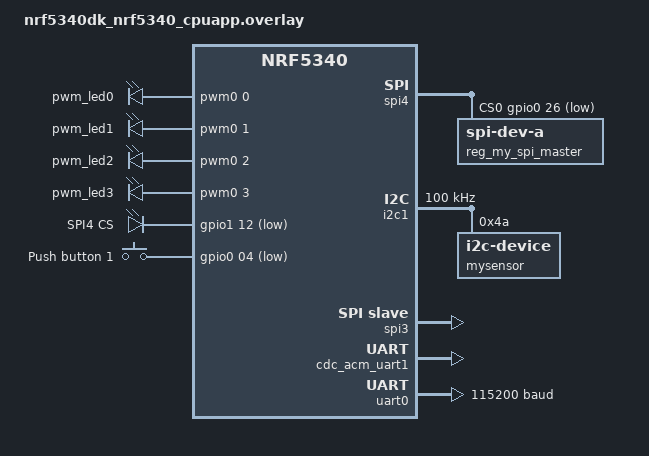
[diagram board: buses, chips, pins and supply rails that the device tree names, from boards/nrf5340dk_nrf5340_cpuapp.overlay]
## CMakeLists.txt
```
# SPDX-License-Identifier: Apache-2.0

cmake_minimum_required(VERSION 3.20.0)
find_package(Zephyr REQUIRED HINTS $ENV{ZEPHYR_BASE})
project(blinky_pwm)

target_sources(app PRIVATE src/main.c)
target_sources(app PRIVATE src/drivers/PWM/pwm_local.c)
target_sources(app PRIVATE src/drivers/SPIM/spim_local.c)
target_sources(app PRIVATE src/drivers/SPIS/spis_local.c)
target_sources(app PRIVATE src/drivers/I2C/i2c_local.c)
target_sources(app PRIVATE src/drivers/GPIO_INPUT/gpio_input_local.c)
target_sources(app PRIVATE src/drivers/BLE_NUS/ble_nus_local.c)

# Include UART ASYNC API adapter
target_sources_ifdef(CONFIG_BT_NUS_UART_ASYNC_ADAPTER app PRIVATE
  src/uart_async_adapter.c
)

# NORDIC SDK APP END

zephyr_library_include_directories(.)
```

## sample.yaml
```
sample:
  name: Blink LED (PWM based)
tests:
  sample.basic.blink_led:
    filter: dt_alias_exists("pwm-led0") and dt_compat_enabled("pwm-leds")
    tags: drivers pwm
    depends_on: pwm
    harness: led
```

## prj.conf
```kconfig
CONFIG_STDOUT_CONSOLE=y
CONFIG_PRINTK=y
CONFIG_PWM=y
CONFIG_I2C=y
CONFIG_LOG=y
#CONFIG_LOG_PRINTK=y
CONFIG_LOG_MODE_IMMEDIATE=y
CONFIG_PWM_LOG_LEVEL_DBG=y
CONFIG_USE_SEGGER_RTT=y

CONFIG_CONSOLE=y
CONFIG_UART_CONSOLE=y

# Enable the UART driver
CONFIG_UART_ASYNC_API=y
CONFIG_NRFX_UARTE0=y
CONFIG_SERIAL=y
CONFIG_GPIO=y

#SPI
CONFIG_SPI=y
CONFIG_NRFX_SPIM3=y
CONFIG_NRFX_SPIM4=y
CONFIG_SPI_ASYNC=y
CONFIG_SPI_SLAVE=y

#Floating point
CONFIG_CBPRINTF_FP_SUPPORT=y

# BT
CONFIG_BT=y
CONFIG_BT_DEBUG_LOG=y

CONFIG_BT_CENTRAL=y
CONFIG_BT_PERIPHERAL=y

CONFIG_BT_SCAN=y
CONFIG_BT_SCAN_FILTER_ENABLE=y
CONFIG_BT_SCAN_NAME_CNT=1
CONFIG_BT_SCAN_MANUFACTURER_DATA_CNT=1
CONFIG_BT_SCAN_WITH_IDENTITY=y

CONFIG_BT_EXT_ADV=y

CONFIG_BT_DEVICE_NAME="ANTSHIV Robotics BLE"
CONFIG_BT_DDFS=y
CONFIG_BT_DEVICE_APPEARANCE=833
CONFIG_BT_MAX_CONN=1
CONFIG_BT_MAX_PAIRED=1

# Enable back logging over UART as this sample config uses only RTT by default
#CONFIG_LOG_BACKEND_UART=y

# Config logger
CONFIG_LOG=y
CONFIG_USE_SEGGER_RTT=y
CONFIG_LOG_BACKEND_RTT=y
CONFIG_LOG_BACKEND_UART=n
CONFIG_LOG_PRINTK=n

# Enable the NUS service
CONFIG_BT_NUS=y
CONFIG_BT_NUS_UART_ASYNC_ADAPTER=y
CONFIG_UART_INTERRUPT_DRIVEN=y

# Disable the UARTE0 enabled in default project configuration
#CONFIG_NRFX_UARTE0=n
CONFIG_UART_NRFX=y

# Enable bonding
CONFIG_BT_SETTINGS=y
CONFIG_FLASH=y
CONFIG_FLASH_PAGE_LAYOUT=y
CONFIG_FLASH_MAP=y
CONFIG_NVS=y
CONFIG_SETTINGS=y

# Enable DK LED and Buttons library
CONFIG_DK_LIBRARY=y

# This example requires more workqueue stack
CONFIG_SYSTEM_WORKQUEUE_STACK_SIZE=2048

CONFIG_ASSERT=y 
```

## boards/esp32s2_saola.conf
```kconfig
CONFIG_LED=y
CONFIG_PWM_LED_ESP32=y
```

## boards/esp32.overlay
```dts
/*
 * SPDX-License-Identifier: Apache-2.0
 *
 * Copyright (c) 2021 Andrei-Edward Popa
 * Copyright (c) 2022 Espressif Systems (Shanghai) Co., Ltd.
 */

#include <zephyr/dt-bindings/pwm/pwm.h>
#include <dt-bindings/pinctrl/esp32-pinctrl.h>

/ {
	aliases {
		pwm-0 = &ledc0;
		pwm-led0 = &pwm_led_blue;
	};

	pwmleds {
		compatible = "pwm-leds";
		pwm_led_blue: pwm_led_gpio0_2 {
			label = "PWM LED0";
			pwms = <&ledc0 0 1000 PWM_POLARITY_NORMAL>;
		};
	};
};

&pinctrl {
	ledc0_default: ledc0_default {
		group1 {
			pinmux = <LEDC_CH0_GPIO2>;
			output-enable;
		};
	};
};

&ledc0 {
	pinctrl-0 = <&ledc0_default>;
	pinctrl-names = "default";
	status = "okay";
	#address-cells = <1>;
	#size-cells = <0>;
	channel0@0 {
		reg = <0x0>;
		timer = <0>;
	};
};
```

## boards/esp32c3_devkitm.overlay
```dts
/*
 * SPDX-License-Identifier: Apache-2.0
 *
 * Copyright (c) 2021 Andrei-Edward Popa
 * Copyright (c) 2022 Espressif Systems (Shanghai) Co., Ltd.
 */

#include <zephyr/dt-bindings/pwm/pwm.h>
#include <dt-bindings/pinctrl/esp32c3-pinctrl.h>

/ {
	aliases {
		pwm-0 = &ledc0;
		pwm-led0 = &pwm_led_blue;
	};

	pwmleds {
		compatible = "pwm-leds";
		pwm_led_blue: pwm_led_gpio0_2 {
			label = "PWM LED0";
			pwms = <&ledc0 0 1000 PWM_POLARITY_NORMAL>;
		};
	};
};

&pinctrl {
	ledc0_default: ledc0_default {
		group1 {
			pinmux = <LEDC_CH0_GPIO2>;
			output-enable;
		};
	};
};

&ledc0 {
	pinctrl-0 = <&ledc0_default>;
	pinctrl-names = "default";
	status = "okay";
	#address-cells = <1>;
	#size-cells = <0>;
	channel0@0 {
		reg = <0x0>;
		timer = <0>;
	};
};
```

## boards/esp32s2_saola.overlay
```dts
/*
 * SPDX-License-Identifier: Apache-2.0
 *
 * Copyright (c) 2021 Andrei-Edward Popa
 * Copyright (c) 2022 Espressif Systems (Shanghai) Co., Ltd.
 */

#include <zephyr/dt-bindings/pwm/pwm.h>
#include <dt-bindings/pinctrl/esp32s2-pinctrl.h>

/ {
	aliases {
		pwm-0 = &ledc0;
		pwm-led0 = &pwm_led_blue;
	};

	pwmleds {
		compatible = "pwm-leds";
		pwm_led_blue: pwm_led_gpio0_2 {
			label = "PWM LED0";
			pwms = <&ledc0 0 1000 PWM_POLARITY_NORMAL>;
		};
	};
};

&pinctrl {
	ledc0_default: ledc0_default {
		group1 {
			pinmux = <LEDC_CH0_GPIO2>;
			output-enable;
		};
	};
};

&ledc0 {
	pinctrl-0 = <&ledc0_default>;
	pinctrl-names = "default";
	status = "okay";
	#address-cells = <1>;
	#size-cells = <0>;
	channel0@0 {
		reg = <0x0>;
		timer = <0>;
	};
};
```

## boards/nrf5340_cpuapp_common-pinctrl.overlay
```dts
&pinctrl {
	pwm0_default: pwm0_default {
		group1 {
			psels = <NRF_PSEL(PWM_OUT0, 1, 6)>,
					<NRF_PSEL(PWM_OUT1, 1, 7)>,
					<NRF_PSEL(PWM_OUT2, 1, 8)>,
					<NRF_PSEL(PWM_OUT3, 1, 9)>;
		};
	};

	pwm0_sleep: pwm0_sleep {
		group1 {
			psels = <NRF_PSEL(PWM_OUT0, 1, 6)>,
					<NRF_PSEL(PWM_OUT1, 1, 7)>,
					<NRF_PSEL(PWM_OUT2, 1, 8)>,
					<NRF_PSEL(PWM_OUT3, 1, 9)>;
			low-power-enable;
		};
	};
	spi4_default: spi4_default {
		group1 {
			psels = <NRF_PSEL(SPIM_SCK, 1, 15)>,
				<NRF_PSEL(SPIM_MISO, 1, 14)>,
				<NRF_PSEL(SPIM_MOSI, 1, 13)>;
		};
	};

	spi4_sleep: spi4_sleep {
		group1 {
			psels = <NRF_PSEL(SPIM_SCK, 1, 15)>,
				<NRF_PSEL(SPIM_MISO, 1, 14)>,
				<NRF_PSEL(SPIM_MOSI, 1, 13)>;
			low-power-enable;
		};
	};

	spi_master_default: spi_master_default {
		group1 {
			psels = <NRF_PSEL(SPIM_SCK, 0, 6)>,
					<NRF_PSEL(SPIM_MOSI, 0, 7)>,
					<NRF_PSEL(SPIM_MISO, 0, 25)>;
		};
	};

	spi_master_sleep: spi_master_sleep {
		group1 {
			psels = <NRF_PSEL(SPIM_SCK, 0, 6)>,
					<NRF_PSEL(SPIM_MOSI, 0, 7)>,
					<NRF_PSEL(SPIM_MISO, 0, 25)>;
			low-power-enable;
		};
	};

	spi_slave_default: spi_slave_default {
		group1 {
			psels = <NRF_PSEL(SPIS_SCK, 1, 5)>,
					<NRF_PSEL(SPIS_MOSI, 1, 4)>,
					<NRF_PSEL(SPIS_MISO, 1, 1)>,
					<NRF_PSEL(SPIS_CSN, 1, 0)>;
		};
	};

	spi_slave_sleep: spi_slave_sleep {
		group1 {
			psels = <NRF_PSEL(SPIS_SCK, 1, 5)>,
					<NRF_PSEL(SPIS_MOSI, 1, 4)>,
					<NRF_PSEL(SPIS_MISO, 1, 1)>,
					<NRF_PSEL(SPIS_CSN, 1, 0)>;
			low-power-enable;
		};
	};
};
```

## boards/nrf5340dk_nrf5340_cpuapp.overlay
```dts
/*
 * Copyright (c) 2019-2020 Nordic Semiconductor ASA
 *
 * SPDX-License-Identifier: Apache-2.0
 */
 #include "nrf5340_cpuapp_common-pinctrl.overlay"

/ {
    chosen {
		nordic,nus-uart = &uart0;
	};
     pwmleds {
         compatible = "pwm-leds";
         pwm_led0: pwm_led_0 {
             pwms = <&pwm0 0 PWM_MSEC(20) PWM_POLARITY_NORMAL>;
         };
         pwm_led1: pwm_led_1 {
             pwms = <&pwm0 1 PWM_MSEC(20) PWM_POLARITY_NORMAL>;
         };
         pwm_led2: pwm_led_2 {
             pwms = <&pwm0 2 PWM_MSEC(20) PWM_POLARITY_NORMAL>;
         };
         pwm_led3: pwm_led_3 {
             pwms = <&pwm0 3 PWM_MSEC(20) PWM_POLARITY_NORMAL>;
         };
     };

    cs {
		compatible = "gpio-leds";
        spi4_cs: spi4_cs {
            gpios = <&gpio1 12 GPIO_ACTIVE_LOW>;	/* D9 */
            label = "SPI4 CS";
        };
    };

    buttons {
		compatible = "gpio-keys";
		button0: button_0 {
			gpios = <&gpio0 04 (GPIO_PULL_UP | GPIO_ACTIVE_LOW)>;
			label = "Push button 1";
        };
    };

     aliases {
        pwm-led0 = &pwm_led0;
        pwm-led1 = &pwm_led1;
        pwm-led2 = &pwm_led2;
        pwm-led3 = &pwm_led3;
        spi4-cs = &spi4_cs;
		sw0 = &button0;
     };

};

arduino_spi: &spi4 {
	compatible = "nordic,nrf-spim";
	status = "okay";
	//cs-gpios = <&arduino_header 16 GPIO_ACTIVE_LOW>; /* D10 */
	cs-gpios = <&arduino_header 14 GPIO_ACTIVE_LOW>; /* D10 */
	pinctrl-0 = <&spi4_default>;
	pinctrl-1 = <&spi4_sleep>;
	pinctrl-names = "default", "sleep";
};

&i2c1 {  
    clock-frequency = <I2C_BITRATE_STANDARD>;
    mysensor: mysensor@4a{
        compatible = "i2c-device";
        status = "okay";
        reg = < 0x4a >;
    };
};


my_spi_master: &spi4 {
	compatible = "nordic,nrf-spim";
	status = "okay";
	pinctrl-0 = <&spi_master_default>;
	pinctrl-1 = <&spi_master_sleep>;
	pinctrl-names = "default", "sleep";
	cs-gpios = <&gpio0 26 GPIO_ACTIVE_LOW>;
	reg_my_spi_master:  spi-dev-a@0 {
		reg = <0>;
	};
};

my_spi_slave: &spi3 {
	compatible = "nordic,nrf-spis";
	status = "okay";
	pinctrl-0 = <&spi_slave_default>;
	pinctrl-1 = <&spi_slave_sleep>;
	pinctrl-names = "default", "sleep";
	def-char = <0x00>;
};

&zephyr_udc0 {
	cdc_acm_uart1: cdc_acm_uart1 {
		compatible = "zephyr,cdc-acm-uart";
	};
};

&uart0 {
	status = "okay";
	current-speed = <115200>;
	pinctrl-0 = <&uart0_default>;
	pinctrl-1 = <&uart0_sleep>;
	pinctrl-names = "default", "sleep";
};

/*
@spi4 {
    mysensor: mysensor@4a {
        compatible = "my,sensor";
        reg = <0x4a>;
        spi-max-frequency = <1000000>;
        label="mysensor";
    };
};
*/
```

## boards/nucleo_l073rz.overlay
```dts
/*
 * SPDX-License-Identifier: Apache-2.0
 *
 * Copyright (c) 2022 STMicroelectronics
 */

&pwmleds {
	status = "okay";
};

&pwm2 {
	status = "okay";
};
```

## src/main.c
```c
/*
 * Copyright (c) 2016 Intel Corporation
 * Copyright (c) 2020 Nordic Semiconductor ASA
 *
 * SPDX-License-Identifier: Apache-2.0
 */

/**
 * @file Sample app to demonstrate PWM.
 */
#include "includes.h"
#include "drivers/PWM/pwm_local.h"
#include "drivers/SPIM/spim_local.h"
#include "drivers/SPIS/spis_local.h"
#include "drivers/I2C/i2c_local.h"
#include "drivers/GPIO_INPUT/gpio_input_local.h"
#include "drivers/BLE_NUS/ble_nus_local.h"

#define SLEEP_TIME_MS 1


/*
 * Initialize the device driver for SPI_4
 */
/* 1000 msec = 1 sec */
// #define SLEEP_TIME_MS 1000
static const struct gpio_dt_spec spi4_cs = GPIO_DT_SPEC_GET(DT_ALIAS(spi4_cs), gpios);
// static const struct spi_cs_control spi4 = SPI_CS_CONTROL_PTR_DT(SPI_NODE, cs_gpios);
/* The devicetree node identifier for the "led0" alias. */
#define LED0_NODE DT_ALIAS(led0)

/*
 * A build error on this line means your board is unsupported.
 * See the sample documentation for information on how to fix this.
 */
// static const struct gpio_dt_spec led = GPIO_DT_SPEC_GET(LED0_NODE, gpios);

/*************OLD SPI *************************************/
/* static const struct spi_config spi_cfg = {
	.operation = SPI_WORD_SET(8) | SPI_TRANSFER_MSB |
			 SPI_MODE_CPOL | SPI_MODE_CPHA,
	.frequency = 4000000,
	.slave = 0,
};

const struct device * spi_dev;

static void spi_init(void)
{
	const char* const spiName = "SPI_4";
	int err, ret;

	printk("SPI4 example application\n");

	spi_dev = DEVICE_DT_GET(DT_NODELABEL(arduino_spi));
	if (!device_is_ready(spi4_cs.port)) {
		printk("spi4 cs is not ready\n");
		return;
	}

	ret = gpio_pin_configure_dt(&spi4_cs, GPIO_OUTPUT_INIT_LOW);
	if (ret < 0) {
		printk("spi4 cs config failed\n");
		return;
	}

	if (spi_dev == NULL) {
		printk("Could not get %s device\n", spiName);
		return;
	}
}

void spi_test_send(void)
{
	int err;
	static uint8_t tx_buffer[1];
	static uint8_t rx_buffer[1];

	const struct spi_buf tx_buf = {
		.buf = tx_buffer,
		.len = sizeof(tx_buffer)
	};
	const struct spi_buf_set tx = {
		.buffers = &tx_buf,
		.count = 1
	};

	struct spi_buf rx_buf = {
		.buf = rx_buffer,
		.len = sizeof(rx_buffer),
	};
	const struct spi_buf_set rx = {
		.buffers = &rx_buf,
		.count = 1
	};

	err = spi_transceive(spi_dev, &spi_cfg, &tx, &rx);
	if (err) {
		printk("SPI error: %d\n", err);
	} else {
		 Connect MISO to MOSI for loopback
		printk("TX sent: %x\n", tx_buffer[0]);
		printk("RX recv: %x\n", rx_buffer[0]);
		tx_buffer[0]++;
	}
} */
/*******************END OLD SPI ******************************/


/***************Peri BLE   UART   ****************/

/***************************************************/
/****************** Peri BLE UART ***********************/
/****************************************************/

void main(void)
{
	uint32_t max_period;
	uint32_t period;
	uint8_t dir = 0U;
	int ret;
	int blink_status = 0;
	int err = 0;

	err = uart_init();
	if (err)
	{
		error();
	}

	if (!gpio_is_ready_dt(&button))
	{
		printk("Error: button device %s is not ready\n",
			   button.port->name);
		return 0;
	}

	ret = gpio_pin_configure_dt(&button, GPIO_INPUT);
	if (ret != 0)
	{
		printk("Error %d: failed to configure %s pin %d\n",
			   ret, button.port->name, button.pin);
		return 0;
	}

	ret = gpio_pin_interrupt_configure_dt(&button,
										  GPIO_INT_EDGE_TO_ACTIVE);
	if (ret != 0)
	{
		printk("Error %d: failed to configure interrupt on %s pin %d\n",
			   ret, button.port->name, button.pin);
		return 0;
	}

	gpio_init_callback(&button_cb_data, button_pressed, BIT(button.pin));
	gpio_add_callback(button.port, &button_cb_data);
	printk("Set up button at %s pin %d\n", button.port->name, button.pin);

	if (led.port && !device_is_ready(led.port))
	{
		printk("Error %d: LED device %s is not ready; ignoring it\n",
			   ret, led.port->name);
		led.port = NULL;
	}
	if (led.port)
	{
		ret = gpio_pin_configure_dt(&led, GPIO_OUTPUT);
		if (ret != 0)
		{
			printk("Error %d: failed to configure LED device %s pin %d\n",
				   ret, led.port->name, led.pin);
			led.port = NULL;
		}
		else
		{
			printk("Set up LED at %s pin %d\n", led.port->name, led.pin);
		}
	}

	printk("Press the button\n");

	ble_nus_init();

	printk("PWM-based blinky\n");

	printk("SPIM Example\n");
	spi_init();
	spi_slave_init();
	printk("SPI master/slave example started\n");
	spi_slave_write_test_msg();
	pwm_check_ready();

	if (!device_is_ready(dev_i2c.bus))
	{
		printk("I2C bus %s is not ready!\n\r", dev_i2c.bus->name);
		return;
	}

	calibratePWM(&period);

	while (1)
	{
		setDuty(pwm_led0, period, period / 2U);
		setDuty(pwm_led1, period, period / 2U);
		setDuty(pwm_led2, period, period / 10U);
		setDuty(pwm_led3, period, period / 10U);

		// gpio_pin_set_dt(&spi4_cs, 0);
		ret = gpio_pin_toggle_dt(&spi4_cs);
		/*  SPI  */
		spi_write_test_msg();
		// ret = gpio_pin_toggle_dt(&led);
		if (ret < 0)
		{
			return;
		}
		k_msleep(SLEEP_TIME_MS);

		spi_slave_process_message();

		/* if sensor input */

		/*  END */
		// spi_test_send();
		// i2c_test_write();
		ret = gpio_pin_toggle_dt(&spi4_cs);

		// gpio_pin_set_dt(&spi4_cs, 1);
		k_sleep(K_SECONDS(4U));
	}
}
```
